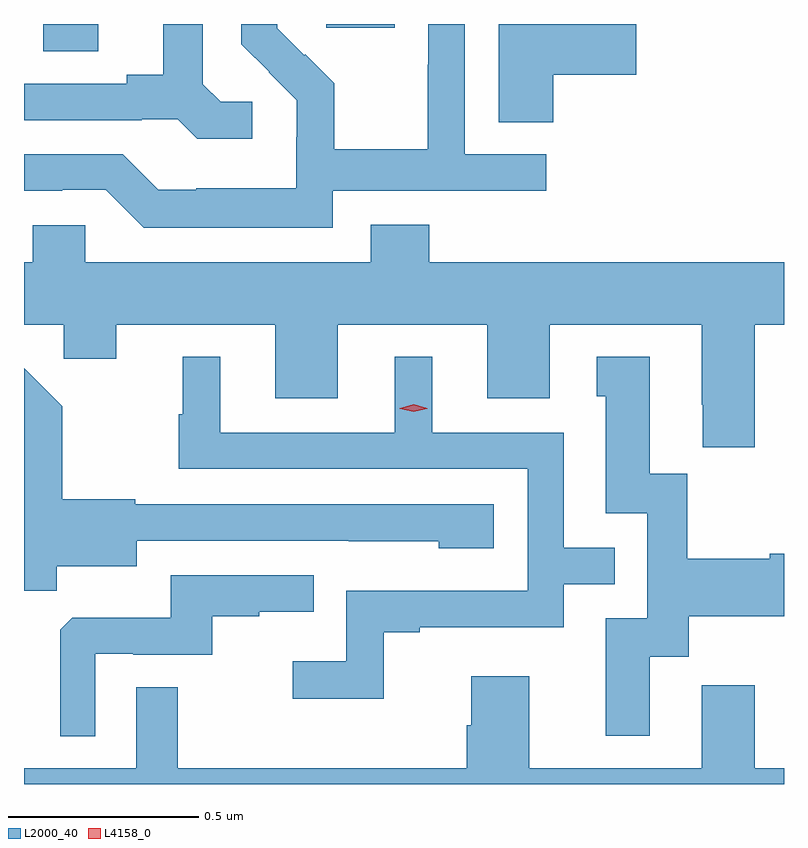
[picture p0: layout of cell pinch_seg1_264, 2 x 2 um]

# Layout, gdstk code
import gdstk
lib = gdstk.Library(unit=1e-6, precision=1e-09)
def R(c, l, rs):  # rectangles x0, y0, x1, y1
    for r in rs: c.add(gdstk.rectangle(r[:2], r[2:], *l))
def P(c, l, *ps):  # polygons
    for p in ps: c.add(gdstk.Polygon(p, *l))
L2000_40 = (2000, 40)
L4158_0 = (4158, 0)

pinch_seg1_264 = lib.new_cell('pinch_seg1_264')
R(pinch_seg1_264, L2000_40, [(887.43,579.091,887.575,579.163), (888.176,579.153,888.355,579.163)])
P(pinch_seg1_264, L2000_40, [(887.98,578.958),(887.898,578.958),(887.851,579.005),(887.851,579.163),(887.747,579.163),(887.747,579.029),(887.651,579.029),(887.651,579.006),(887.38,579.006),(887.38,578.91),(887.69,578.91),(887.69,578.913),(887.784,578.913),(887.836,578.861),(887.98,578.861)],
  [(888.773,579.029),(888.991,579.029),(888.991,579.163),(888.629,579.163),(888.629,578.905),(888.773,578.905)],
  [(888.192,578.724),(888.754,578.724),(888.754,578.82),(888.54,578.82),(888.54,579.163),(888.444,579.163),(888.444,579.056),(888.442,579.056),(888.442,578.833),(888.197,578.833),(888.197,579.007),(888.12,579.084),(888.117,579.081),(888.047,579.152),(888.047,579.163),(887.952,579.163),(887.952,579.11),(888.025,579.037),(888.024,579.036),(888.098,578.962),(888.098,578.865),(888.096,578.865),(888.096,578.731),(887.833,578.731),(887.833,578.727),(887.733,578.727),(887.64,578.82),(887.38,578.82),(887.38,578.724),(887.48,578.724),(887.48,578.727),(887.595,578.727),(887.695,578.627),(888.192,578.627)],
  [(888.293,578.635),(888.293,578.536),(887.541,578.536),(887.541,578.634),(887.403,578.634),(887.403,578.536),(887.38,578.536),(887.38,578.372),(887.485,578.372),(887.485,578.282),(887.623,578.282),(887.623,578.372),(888.041,578.372),(888.041,578.178),(888.205,578.178),(888.205,578.372),(888.599,578.372),(888.599,578.178),(888.763,578.178),(888.763,578.372),(889.163,578.372),(889.163,578.161),(889.166,578.161),(889.166,578.049),(889.303,578.049),(889.303,578.372),(889.38,578.372),(889.38,578.536),(888.446,578.536),(888.446,578.635)],
  [(889.027,577.498),(889.129,577.498),(889.129,577.604),(889.38,577.604),(889.38,577.769),(889.343,577.769),(889.343,577.756),(889.125,577.756),(889.125,577.979),(889.027,577.979),(889.027,578.287),(888.887,578.287),(888.887,578.184),(888.911,578.184),(888.911,577.875),(889.02,577.875),(889.02,577.599),(888.911,577.599),(888.911,577.29),(889.027,577.29)],
  [(888.327,577.563),(888.421,577.563),(888.421,577.575),(888.801,577.575),(888.801,577.689),(888.935,577.689),(888.935,577.785),(888.801,577.785),(888.801,578.088),(888.454,578.088),(888.454,578.287),(888.356,578.287),(888.356,578.088),(887.896,578.088),(887.896,578.287),(887.798,578.287),(887.798,578.136),(887.787,578.136),(887.787,577.992),(888.705,577.992),(888.705,577.671),(888.228,577.671),(888.228,577.486),(888.087,577.486),(888.087,577.388),(888.327,577.388)],
  [(887.466,577.736),(887.677,577.736),(887.677,577.803),(888.235,577.803),(888.235,577.802),(888.471,577.802),(888.471,577.784),(888.616,577.784),(888.616,577.899),(887.673,577.899),(887.673,577.912),(887.481,577.912),(887.481,578.157),(887.381,578.257),(887.38,578.257),(887.38,577.672),(887.466,577.672)],
  [(887.568,577.506),(887.668,577.506),(887.668,577.503),(887.876,577.503),(887.876,577.605),(887.999,577.605),(887.999,577.616),(888.143,577.616),(888.143,577.713),(887.766,577.713),(887.766,577.601),(887.507,577.601),(887.475,577.569),(887.475,577.289),(887.568,577.289)],
  [(889.38,577.204),(889.303,577.204),(889.303,577.423),(889.163,577.423),(889.163,577.204),(888.709,577.204),(888.709,577.447),(888.557,577.447),(888.557,577.317),(888.545,577.317),(888.545,577.204),(887.785,577.204),(887.785,577.418),(887.676,577.418),(887.676,577.204),(887.38,577.204),(887.38,577.163),(889.38,577.163)])
P(pinch_seg1_264, L4158_0, [(888.405,578.142),(888.369,578.151),(888.369,578.152),(888.369,578.152),(888.405,578.162),(888.441,578.152),(888.441,578.152),(888.441,578.151)])

lib.write_gds('pinch_seg1_264.gds')
